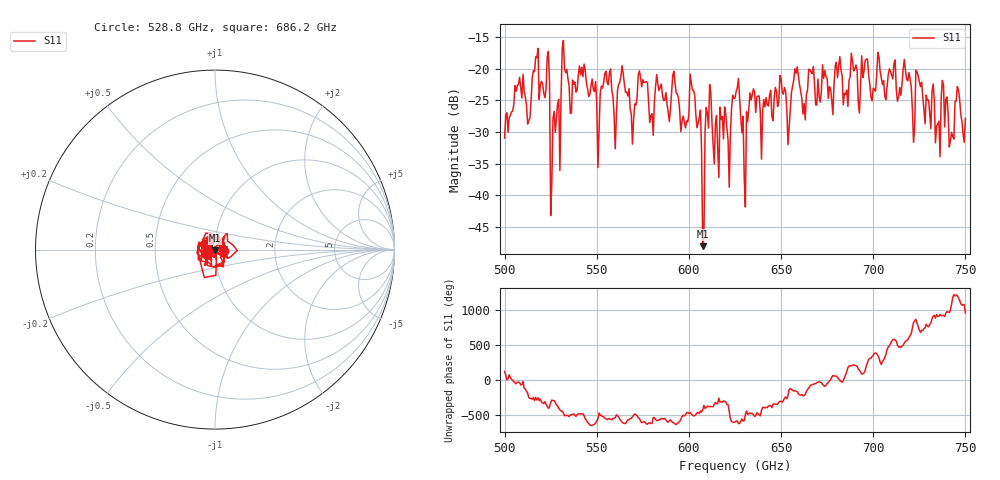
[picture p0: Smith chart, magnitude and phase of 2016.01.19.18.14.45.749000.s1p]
!Created with skrf (http://scikit-rf.org).
# GHz S RI R 50.0
!freq ReS11 ImS11
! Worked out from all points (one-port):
!   401 points, 500 GHz to 750 GHz, reference 50 ohm
!   lowest |S11| = -48.0 dB at 607.5 GHz (marker M1), VSWR 1.01, Z = 50.2 - j0.362 ohm
!   |S11| at or under -10 dB: start of sweep to end of sweep
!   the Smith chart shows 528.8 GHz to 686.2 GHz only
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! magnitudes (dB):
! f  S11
! 500 GHz  -31.0
! 506.9 GHz  -22.8
! 513.1 GHz  -28.2
! 516.9 GHz  -18.1
! 523.1 GHz  -18.1
! 526.2 GHz  -27.8
! 531.2 GHz  -16.9
! 542.5 GHz  -21.3
! 551.2 GHz  -30.0
! 562.5 GHz  -22.1
! 569.4 GHz  -31.9
! 573.8 GHz  -21.4
! 579.4 GHz  -27.4
! 593.8 GHz  -24.0
! 596.9 GHz  -27.5
! 601.9 GHz  -23.4
! 607.5 GHz  -48.0
! 610.6 GHz  -29.4
! 615 GHz  -27.4
! 625 GHz  -24.7
! 629.4 GHz  -27.5
! 634.4 GHz  -24.1
! 656.2 GHz  -22.7
! 687.5 GHz  -21.3
! 718.8 GHz  -21.9
! 735 GHz  -28.7
! 738.1 GHz  -22.6
! 750 GHz  -27.9
